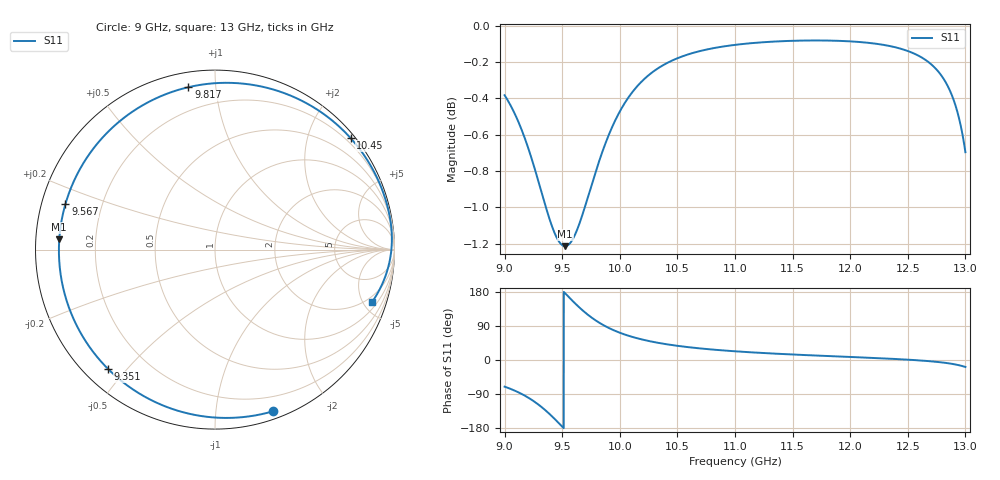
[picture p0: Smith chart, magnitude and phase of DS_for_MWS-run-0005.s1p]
! TOUCHSTONE file generated by CST DESIGN STUDIO
! Date and time: Tue Feb  4 17:05:19 2025
! Project name: C:\Work\MatlabApps\UnitCellOptimizationMatlab\CST\unitcell.cst
! Tree item: Tasks\Sweep1\SPara1\S-Parameters
! Header version: 2024
! Port assignment regex: !\s*Touchstone port\s*([0-9]+)\s*=\s*(CST MWS port|CST DES external port|CST DES block port)\s*(.+)\s* \(\"(.*)\"\)(\s*mode\s*([0-9]+))?.*
! Touchstone port assignment:
! Touchstone port 1 = CST DES external port 1 ("")
# GHz S MA R 50
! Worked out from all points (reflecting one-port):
!   4001 points, 9 GHz to 13 GHz, reference 50 ohm
!   lowest |S11| = -1.2 dB at 9.525 GHz (marker M1), VSWR 14.33, Z = 3.49 + j1.65 ohm
!   phase of S11 starts at -70 deg and turns -308 deg over the sweep
!   S11 on the Smith chart (normalised r, x): 9 GHz: 0.07, -1.42; 9.351 GHz: 0.07, -0.45; 9.567 GHz: 0.07, +0.15; 9.817 GHz: 0.07, +0.85; 10.45 GHz: 0.10, +2.79; 13 GHz: 1.48, -5.82
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9  0.9569 -70.3
9.096  0.9446 -82.0
9.205  0.9254 -99.3
9.281  0.9089 -114.8
9.351  0.8929 -131.8
9.432  0.8772 -154.8
9.5  0.8701 -175.9
9.525  0.8696 176.2
9.567  0.8711 163.0
9.632  0.8791 143.5
9.691  0.8902 127.3
9.752  0.9033 112.7
9.817  0.917 99.3
9.898  0.9321 85.5
10  0.9471 72.0
10.094  0.9574 62.3
10.198  0.9658 53.8
10.316  0.9727 46.2
10.452  0.9781 39.5
10.5  0.9796 37.4
10.721  0.9845 29.9
11  0.988 23.0
11.5  0.9905 14.5
12  0.9902 8.0
12.5  0.9841 0.9
12.799  0.9682 -6.5
12.91  0.9516 -11.6
13  0.923 -18.4
